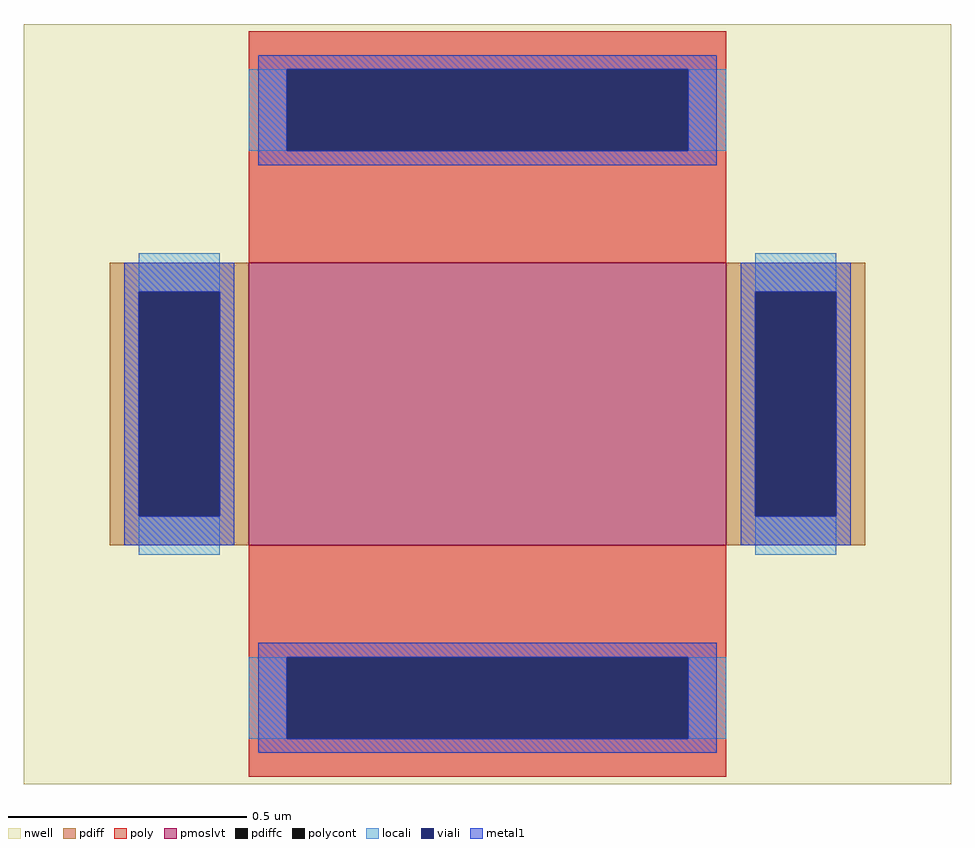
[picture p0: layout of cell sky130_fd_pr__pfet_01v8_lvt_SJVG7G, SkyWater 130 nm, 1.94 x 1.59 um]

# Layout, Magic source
magic
tech sky130A
magscale 1 2
<< nwell >>
rect -194 -159 194 159
<< pmoslvt >>
rect -100 -59 100 59
<< pdiff >>
rect -158 47 -100 59
rect -158 -47 -146 47
rect -112 -47 -100 47
rect -158 -59 -100 -47
rect 100 47 158 59
rect 100 -47 112 47
rect 146 -47 158 47
rect 100 -59 158 -47
<< pdiffc >>
rect -146 -47 -112 47
rect 112 -47 146 47
<< poly >>
rect -100 140 100 156
rect -100 106 -84 140
rect 84 106 100 140
rect -100 59 100 106
rect -100 -106 100 -59
rect -100 -140 -84 -106
rect 84 -140 100 -106
rect -100 -156 100 -140
<< polycont >>
rect -84 106 84 140
rect -84 -140 84 -106
<< locali >>
rect -100 106 -84 140
rect 84 106 100 140
rect -146 47 -112 63
rect -146 -63 -112 -47
rect 112 47 146 63
rect 112 -63 146 -47
rect -100 -140 -84 -106
rect 84 -140 100 -106
<< viali >>
rect -84 106 84 140
rect -146 -47 -112 47
rect 112 -47 146 47
rect -84 -140 84 -106
<< metal1 >>
rect -96 140 96 146
rect -96 106 -84 140
rect 84 106 96 140
rect -96 100 96 106
rect -152 47 -106 59
rect -152 -47 -146 47
rect -112 -47 -106 47
rect -152 -59 -106 -47
rect 106 47 152 59
rect 106 -47 112 47
rect 146 -47 152 47
rect 106 -59 152 -47
rect -96 -106 96 -100
rect -96 -140 -84 -106
rect 84 -140 96 -106
rect -96 -146 96 -140
<< properties >>
string gencell sky130_fd_pr__pfet_01v8_lvt
string library sky130
string parameters w 0.59 l 1.0 m 1 nf 1 diffcov 100 polycov 100 guard 0 glc 1 grc 1 gtc 1 gbc 1 tbcov 100 rlcov 100 topc 1 botc 1 poverlap 0 doverlap 1 lmin 0.35 wmin 0.42 class mosfet compatible {sky130_fd_pr__pfet_01v8  sky130_fd_pr__pfet_01v8_lvt sky130_fd_pr__pfet_01v8_hvt  sky130_fd_pr__pfet_g5v0d10v5} full_metal 1 viasrc 100 viadrn 100 viagate 100 viagb 0 viagr 0 viagl 0 viagt 0
<< end >>
